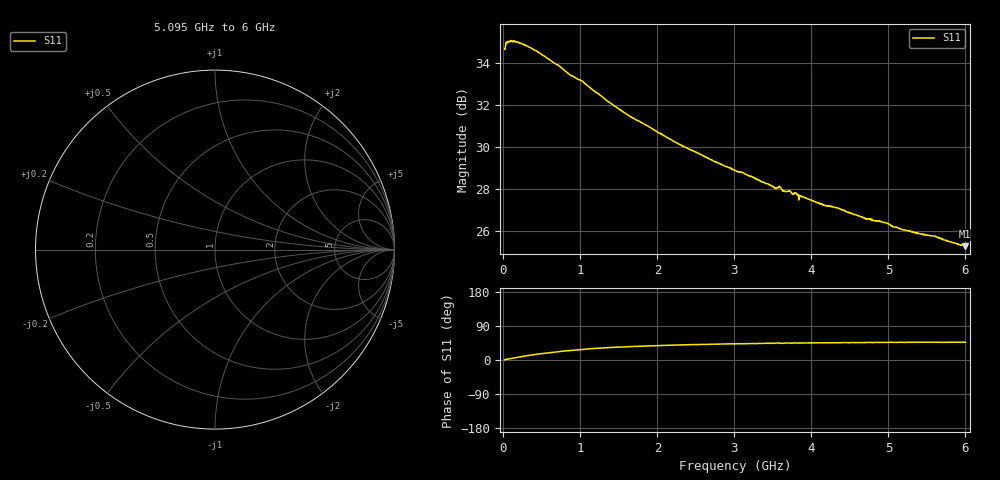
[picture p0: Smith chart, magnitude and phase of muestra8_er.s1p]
! NanoVNA-UTN-Toolkit permittivity export -- NOT S-parameters
! ES: Permitividad relativa compleja de la muestra. NO es S11: se guarda en
! ES: formato Touchstone solo para poder graficarla con visores de .s1p.
! EN: Complex relative permittivity of the sample. NOT S11: the Touchstone
! EN: format is used only so that .s1p viewers can plot it.
! Columns / Columnas: f (Hz) | eps' | eps'' (loss >= 0); eps_r = eps' - j*eps''
! Sample / Muestra: muestra8
! Technique / Tecnica: Open-ended coaxial probe (liquids)
! References / Referencias: water + ipa
! Probe / Sonda: 3 mm probe (C0 0.019 pF)
! Temperature / Temperatura: 23.0 °C
! Reliable from 45 MHz: points below are not reliable / Confiable desde 45 MHz: los puntos inferiores no son confiables
! Spike removal replaced 1 isolated S11 point(s) before solving / La remocion de picos reemplazo 1 punto(s) aislado(s) de S11
! 2 point(s) without a solution omitted / 2 punto(s) sin solucion omitidos
! Exported / Exportado: 2026-10-24T12:24:19
# Hz S RI R 50
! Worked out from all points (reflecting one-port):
!   1198 points, 15 MHz to 6 GHz, reference 50 ohm
!   lowest |S11| = 25.3 dB at 5.995 GHz (marker M1)
!   phase of S11 starts at 0 deg and turns +47 deg over the sweep
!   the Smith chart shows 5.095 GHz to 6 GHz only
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1.5e7  54.08 0.0759
5e7  56.09 2.036
7e7  56.31 2.845
1.2e8  56.16 4.564
1.9e8  55.77 7.146
3.3e8  53.55 11.39
4.55e8  51.16 14.35
5.9e8  48.37 16.78
7.65e8  44.73 19.18
8.6e8  42.67 19.82
1.005e9  40.47 21.05
1.095e9  38.58 21.69
1.33e9  34.61 21.91
1.515e9  32.12 21.89
1.68e9  30.16 21.68
2.26e9  24.81 20.65
2.75e9  21.74 19.47
3.01e9  20.43 18.81
3.545e9  17.96 17.79
3.6e9  18.18 17.63
3.655e9  17.64 17.39
3.725e9  17.69 17.4
3.76e9  17.3 17.19
4.095e9  16.29 16.57
4.505e9  15.34 15.77
5.255e9  13.68 14.54
5.995e9  12.52 13.42
6e9  12.55 13.42
